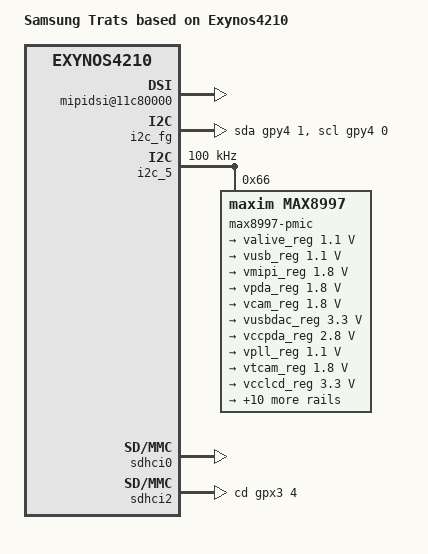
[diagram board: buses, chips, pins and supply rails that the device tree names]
// SPDX-License-Identifier: GPL-2.0+
/*
 * Samsung's Exynos4210 based Trats board device tree source
 *
 * Copyright (c) 2014 Samsung Electronics Co., Ltd.
 *		http://www.samsung.com
 */

/dts-v1/;
#include "exynos4210.dtsi"

/ {
	model = "Samsung Trats based on Exynos4210";
	compatible = "samsung,trats", "samsung,exynos4210";

	config {
		samsung,dsim-device-name = "s6e8ax0";
	};

	aliases {
		serial0 = "/serial@13800000";
		console = "/serial@13820000";
		i2c8 = &i2c_fg;
	};

	fimd@11c00000 {
		compatible = "samsung,exynos-fimd";
		reg = <0x11c00000 0xa4>;

		samsung,vl-freq = <60>;
		samsung,vl-col = <720>;
		samsung,vl-row = <1280>;
		samsung,vl-width = <720>;
		samsung,vl-height = <1280>;

		samsung,vl-clkp = <0>;
		samsung,vl-oep = <0>;
		samsung,vl-hsp = <1>;
		samsung,vl-vsp = <1>;
		samsung,vl-dp = <1>;
		samsung,vl-bpix = <4>;

		samsung,vl-hspw = <5>;
		samsung,vl-hbpd = <10>;
		samsung,vl-hfpd = <10>;
		samsung,vl-vspw = <2>;
		samsung,vl-vbpd = <1>;
		samsung,vl-vfpd = <13>;
		samsung,vl-cmd-allow-len = <0xf>;

		samsung,winid = <3>;
		samsung,power-on-delay = <30>;
		samsung,interface-mode = <1>;
		samsung,mipi-enabled = <1>;
		samsung,dp-enabled;
		samsung,dual-lcd-enabled;

		samsung,logo-on = <1>;
		samsung,resolution = <0>;
		samsung,rgb-mode = <0>;
	};

	mipidsi@11c80000 {
		compatible = "samsung,exynos-mipi-dsi";
		reg = <0x11c80000 0x5c>;

		samsung,dsim-config-e-interface = <1>;
		samsung,dsim-config-e-virtual-ch = <0>;
		samsung,dsim-config-e-pixel-format = <7>;
		samsung,dsim-config-e-burst-mode = <1>;
		samsung,dsim-config-e-no-data-lane = <3>;
		samsung,dsim-config-e-byte-clk = <0>;
		samsung,dsim-config-hfp = <1>;

		samsung,dsim-config-p = <3>;
		samsung,dsim-config-m = <120>;
		samsung,dsim-config-s = <1>;

		samsung,dsim-config-pll-stable-time = <500>;
		samsung,dsim-config-esc-clk = <20000000>;
		samsung,dsim-config-stop-holding-cnt = <0x7ff>;
		samsung,dsim-config-bta-timeout = <0xff>;
		samsung,dsim-config-rx-timeout = <0xffff>;

		samsung,dsim-device-id = <0xffffffff>;
		samsung,dsim-device-bus-id = <0>;

		samsung,dsim-device-reverse-panel = <1>;
	};

	i2c_fg: fuel-gauge {
		compatible = "i2c-gpio";
		gpios = <&gpy4 1 0>,	/* sda */
			<&gpy4 0 0>;	/* scl */
		i2c-gpio,delay-us = <2>;        /* ~100 kHz */
		status = "okay";
	};
};

&i2c_5 {
	clock-frequency = <100000>;
	status = "okay";

	max8997-pmic@66 {
		compatible = "maxim,max8997";
		reg = <0x66 0 0>;
		voltage-regulators {
			valive_reg: LDO2 {
			     regulator-name = "VALIVE_1.1V_C210";
			     regulator-min-microvolt = <1100000>;
			     regulator-max-microvolt = <1100000>;
			     regulator-always-on;
			};

			vusb_reg: LDO3 {
			     regulator-name = "VUSB_1.1V_C210";
			     regulator-min-microvolt = <1100000>;
			     regulator-max-microvolt = <1100000>;
			};

			vmipi_reg: LDO4 {
			     regulator-name = "VMIPI_1.8V";
			     regulator-min-microvolt = <1800000>;
			     regulator-max-microvolt = <1800000>;
			};

			vpda_reg: LDO6 {
			     regulator-name = "VCC_1.8V_PDA";
			     regulator-min-microvolt = <1800000>;
			     regulator-max-microvolt = <1800000>;
			     regulator-always-on;
			};

			vcam_reg: LDO7 {
			     regulator-name = "CAM_ISP_1.8V";
			     regulator-min-microvolt = <1800000>;
			     regulator-max-microvolt = <1800000>;
			};

			vusbdac_reg: LDO8 {
			     regulator-name = "VUSB+VDAC_3.3V_C210";
			     regulator-min-microvolt = <3300000>;
			     regulator-max-microvolt = <3300000>;
			};

			vccpda_reg: LDO9 {
			     regulator-name = "VCC_2.8V_PDA";
			     regulator-min-microvolt = <2800000>;
			     regulator-max-microvolt = <2800000>;
			     regulator-always-on;
			};

			vpll_reg: LDO10 {
			     regulator-name = "VPLL_1.1V_C210";
			     regulator-min-microvolt = <1100000>;
			     regulator-max-microvolt = <1100000>;
			     regulator-always-on;
			};

			vtcam_reg: LDO12 {
			     regulator-name = "VT_CAM_1.8V";
			     regulator-min-microvolt = <1800000>;
			     regulator-max-microvolt = <1800000>;
			};

			vcclcd_reg: LDO13 {
			     regulator-name = "VCC_3.3V_LCD";
			     regulator-min-microvolt = <3300000>;
			     regulator-max-microvolt = <3300000>;
			};

			vlcd_reg: LDO15 {
			     regulator-name = "VLCD_2.2V";
			     regulator-min-microvolt = <2200000>;
			     regulator-max-microvolt = <2200000>;
			};

			camsensor_reg: LDO16 {
			     regulator-name = "CAM_SENSOR_IO_1.8V";
			     regulator-min-microvolt = <1800000>;
			     regulator-max-microvolt = <1800000>;
			};

			vddq_reg: LDO21 {
			     regulator-name = "VDDQ_M1M2_1.2V";
			     regulator-min-microvolt = <1200000>;
			     regulator-max-microvolt = <1200000>;
			     regulator-always-on;
			};

			varm_breg: BUCK1 {
			     /*
			      * HACK: The real name is VARM_1.2V_C210,
			      * but exynos-cpufreq does not support
			      * DT-based regulator lookup yet.
			      */
			     regulator-name = "vdd_arm";
			     regulator-min-microvolt = <900000>;
			     regulator-max-microvolt = <1350000>;
			     regulator-always-on;
			};

			vint_breg: BUCK2 {
			     regulator-name = "VINT_1.1V_C210";
			     regulator-min-microvolt = <900000>;
			     regulator-max-microvolt = <1100000>;
			     regulator-always-on;
			};

			camisp_breg: BUCK4 {
			     regulator-name = "CAM_ISP_CORE_1.2V";
			     regulator-min-microvolt = <1200000>;
			     regulator-max-microvolt = <1200000>;
			};

			vmem_breg: BUCK5 {
			     regulator-name = "VMEM_1.2V_C210";
			     regulator-min-microvolt = <1200000>;
			     regulator-max-microvolt = <1200000>;
			     regulator-always-on;
			};

			vccsub_breg: BUCK7 {
			     regulator-name = "VCC_SUB_2.0V";
			     regulator-min-microvolt = <2000000>;
			     regulator-max-microvolt = <2000000>;
			     regulator-always-on;
			};

			safe1_sreg: ESAFEOUT1 {
			     regulator-name = "SAFEOUT1";
			};

			safe2_sreg: ESAFEOUT2 {
			     regulator-name = "SAFEOUT2";
			     regulator-boot-on;
			};
		};
	};
};

&sdhci0 {
	samsung,bus-width = <8>;
	samsung,timing = <1 3 3>;
	pwr-gpios = <&gpk0 2 0>;
	status = "okay";
};

&sdhci2 {
	samsung,bus-width = <4>;
	samsung,timing = <1 2 3>;
	cd-gpios = <&gpx3 4 0>;
	status = "okay";
};
